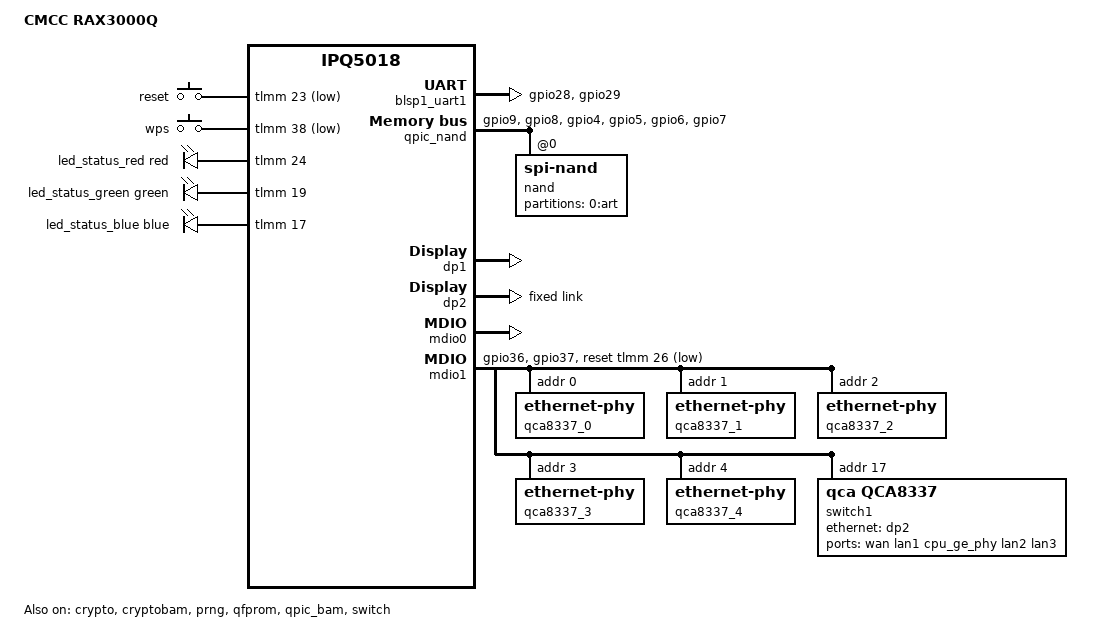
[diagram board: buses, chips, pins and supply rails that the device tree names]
// SPDX-License-Identifier: GPL-2.0-or-later OR MIT

/dts-v1/;

#include "ipq5018.dtsi"
#include "ipq5018-ess.dtsi"
#include "ipq5018-qcn6122.dtsi"

#include <dt-bindings/gpio/gpio.h>
#include <dt-bindings/input/input.h>
#include <dt-bindings/leds/common.h>

/ {
	model = "CMCC RAX3000Q";
	compatible = "cmcc,rax3000q", "qcom,ipq5018";

	aliases {
		label-mac-device = <&dp1>;
		
		led-boot = &led_status_red;
		led-failsafe = &led_status_blue;
		led-running = &led_status_green;
		led-upgrade = &led_status_blue;
		
		serial0 = &blsp1_uart1;
	};

	chosen {
		bootargs-append = " root=/dev/ubiblock0_1 swiotlb=1 coherent_pool=2M";
		stdout-path = "serial0:115200n8";
	};

	keys {
		compatible = "gpio-keys";
		pinctrl-0 = <&button_pins>;
		pinctrl-names = "default";

		reset-button {
			label = "reset";
			gpios = <&tlmm 23 GPIO_ACTIVE_LOW>;
			linux,code = <KEY_RESTART>;
		};

		wps-button {
			label = "wps";
			gpios = <&tlmm 38 GPIO_ACTIVE_LOW>;
			linux,code = <KEY_WPS_BUTTON>;
		};
	};

	leds {
		compatible = "gpio-leds";
		pinctrl-0 = <&led_pins>;
		pinctrl-names = "default";

		led_status_red: led-0 {
			gpios = <&tlmm 24 GPIO_ACTIVE_HIGH>;
			color = <LED_COLOR_ID_RED>;
			function = LED_FUNCTION_STATUS;
			default-state = "off";
		};

		led_status_green: led-1 {
			gpios = <&tlmm 19 GPIO_ACTIVE_HIGH>;
			color = <LED_COLOR_ID_GREEN>;
			function = LED_FUNCTION_STATUS;
			default-state = "off";
		};

		led_status_blue: led-2 {
			gpios = <&tlmm 17 GPIO_ACTIVE_HIGH>;
			color = <LED_COLOR_ID_BLUE>;
			function = LED_FUNCTION_WAN;
			default-state = "off";
		};
	};
};

&sleep_clk {
	clock-frequency = <32000>;
};

&xo_board_clk {
	clock-div = <4>;
	clock-mult = <1>;
};

&blsp1_uart1 {
	status = "okay";

	pinctrl-0 = <&serial_0_pins>;
	pinctrl-names = "default";
};

&crypto {
	status = "okay";
};

&cryptobam {
	status = "okay";
};

&prng {
	status = "okay";
};

&qfprom {
	status = "okay";
};

&qpic_bam {
	status = "okay";
};

&qpic_nand {
	pinctrl-0 = <&qpic_pins>;
	pinctrl-names = "default";
	status = "okay";

	//GigaDevice GD5F1GQ5REYIG
	nand@0 {
		compatible = "spi-nand";
		reg = <0>;
		nand-ecc-engine = <&qpic_nand>;
		nand-ecc-step-size = <512>;
		nand-ecc-strength = <8>;
		nand-bus-width = <8>;
		
		partitions {
			compatible = "qcom,smem-part";

			partition-art {
				label = "0:art";
				read-only;

				nvmem-layout {
					compatible = "fixed-layout";
					#address-cells = <1>;
					#size-cells = <1>;

					// WAN MAC address
					macaddr_art_0: mac-address@0 {
						compatible = "mac-base";
						reg = <0x0 0x6>;
						#nvmem-cell-cells = <1>;
					};

					// LAN MAC address
					macaddr_art_6: mac-address@6 {
						compatible = "mac-base";
						reg = <0x6 0x6>;
						#nvmem-cell-cells = <1>;
					};

				};
			};
		};
	};
};

&switch {
	status = "okay";

	switch_mac_mode = <MAC_MODE_SGMII_CHANNEL0>;

	qcom,port_phyinfo {
		// MAC0 -> GE Phy --- MDI --- QCA8337 Phy2(Port3)
		port@1 {
			port_id = <1>;
			mdiobus = <&mdio0>;
			phy_address = <7>;
		};

		// MAC1 -> Uniphy --- SGMII --- QCA8337 SerDes(Port6)
		port@2 {
			port_id = <2>;
			mdiobus = <&mdio1>;
			forced-speed = <1000>;
			forced-duplex = <1>;
		};
	};
};

// MAC0 -> GE Phy
&dp1 {
	status = "okay";

	nvmem-cell-names = "mac-address";
	nvmem-cells = <&macaddr_art_0 (0)>;
};

// MAC1 -> SGMII
&dp2 {
	status = "okay";

	nvmem-cell-names = "mac-address";
	nvmem-cells = <&macaddr_art_6 (0)>;

	fixed-link {
		speed = <1000>;
		full-duplex;
	};
};

&mdio0 {
	status = "okay";
};

// MAC0 -> GE Phy -> QCA8337 Phy2
&ge_phy {
	qcom,dac-preset-short-cable;
};

&mdio1 {
	status = "okay";

	pinctrl-0 = <&mdio1_pins>;
	pinctrl-names = "default";
	reset-gpios = <&tlmm 26 GPIO_ACTIVE_LOW>;

	// QCA8337 Phy0 -> WAN
	qca8337_0: ethernet-phy@0 {
		reg = <0>;
	};

	// QCA8337 Phy1 -> LAN1
	qca8337_1: ethernet-phy@1 {
		reg = <1>;
	};

	// QCA8337 Phy2 -> IPQ5018 GE Phy
	qca8337_2: ethernet-phy@2 {
		reg = <2>;
	};

	// QCA8337 Phy3 -> LAN2
	qca8337_3: ethernet-phy@3 {
		reg = <3>;
	};

	// QCA8337 Phy4 -> LAN3
	qca8337_4: ethernet-phy@4 {
		reg = <4>;
	};

	// QCA8337 switch
	switch1: ethernet-switch@17 {
		compatible = "qca,qca8337";
		reg = <17>;
		#address-cells = <1>;
		#size-cells = <0>;

		ports {
			#address-cells = <1>;
			#size-cells = <0>;

			port@1 {
				reg = <1>;
				label = "wan";
				phy-handle = <&qca8337_0>;
				
				nvmem-cells = <&macaddr_art_0 (0)>;
				nvmem-cell-names = "mac-address";
			};

			port@2 {
				reg = <2>;
				label = "lan1";
				phy-handle = <&qca8337_1>;
			};

			port@3 {
				reg = <3>;
				label = "cpu_ge_phy";
				phy-handle = <&qca8337_2>;
			};

			port@4 {
				reg = <4>;
				label = "lan2";
				phy-handle = <&qca8337_3>;
			};

			port@5 {
				reg = <5>;
				label = "lan3";
				phy-handle = <&qca8337_4>;
			};

			port@6 {
				reg = <6>;
				phy-mode = "sgmii";
				ethernet = <&dp2>;
				qca,sgmii-enable-pll;

				fixed-link {
					speed = <1000>;
					full-duplex;
				};
			};
		};
	};
};

&tlmm {
	button_pins: button-state {
		pins = "gpio23", "gpio38";
		function = "gpio";
		drive-strength = <8>;
		bias-pull-up;
	};

	led_pins: led-state {
		pins = "gpio24", "gpio19", "gpio17";
		function = "gpio";
		drive-strength = <8>;
		bias-pull-down;
	};

	mdio1_pins: mdio-state {
		mdc-pins {
			pins = "gpio36";
			function = "mdc";
			drive-strength = <8>;
			bias-pull-up;
		};

		mdio-pins {
			pins = "gpio37";
			function = "mdio";
			drive-strength = <8>;
			bias-pull-up;
		};
	};

	qpic_pins: qpic-state {
		clock-pins {
			pins = "gpio9";
			function = "qspi_clk";
			drive-strength = <8>;
			bias-disable;
		};

		cs-pins {
			pins = "gpio8";
			function = "qspi_cs";
			drive-strength = <8>;
			bias-disable;
		};

		data-pins {
			pins = "gpio4", "gpio5", "gpio6", "gpio7";
			function = "qspi_data";
			drive-strength = <8>;
			bias-disable;
		};
	};

	serial_0_pins: uart0-state {
		pins = "gpio28", "gpio29";
		function = "blsp0_uart1";
		drive-strength = <8>;
		bias-disable;
	};

	switch_reset_pins: switch-reset-state {
		pins = "gpio26";
		function = "gpio";
		drive-strength = <8>;
		bias-pull-down;
	};
};

//256M RAM is too small for ath11k, so WiFi is disabled to prevent OOM.

&q6v5_wcss {
	status = "disabled";
	/* The QCN6102 radio should map to UPD ID 2. Without       */
	/* bootargs, the firmware will expect it to be on UPD ID 3 */

	boot-args = </*       type: */ 0x2 /* PCIE1 */
		     /*     length: */ 4
		     /*      PD id: */ 2
		     /* reset GPIO: */ 27
		     /*   reserved: */ 0 0>;
		     
};

&wifi {	
	// IPQ5018
	status = "disabled";
	
	qcom,rproc = <&q6_wcss_pd1>;
	qcom,ath11k-calibration-variant = "CMCC-RAX3000Q";
	qcom,ath11k-fw-memory-mode = <1>;
	qcom,bdf-addr = <0x4c400000>;
};

&wifi1 {
	// QCN6102 5G
	status = "disabled";
	
	qcom,rproc = <&q6_wcss_pd2>;
	qcom,userpd-subsys-name = "q6v5_wcss_userpd2";
	qcom,ath11k-calibration-variant = "CMCC-RAX3000Q";
	qcom,ath11k-fw-memory-mode = <1>;
	qcom,bdf-addr = <0x4d100000>;
	qcom,m3-dump-addr = <0x4df00000>;
};
